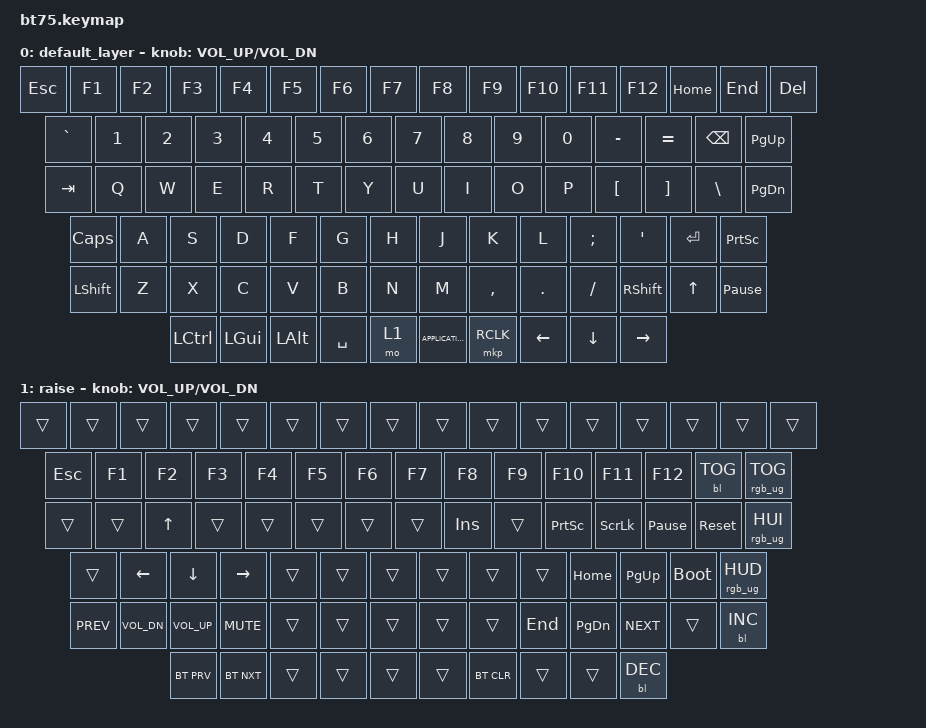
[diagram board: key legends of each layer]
#include <behaviors.dtsi>
#include <dt-bindings/zmk/keys.h>
#include <dt-bindings/zmk/bt.h>
#include <dt-bindings/zmk/rgb.h>
#include <dt-bindings/zmk/backlight.h>
#include <dt-bindings/zmk/ext_power.h>
#include <dt-bindings/zmk/mouse.h>

/ {
	keymap {
		compatible = "zmk,keymap";
		default_layer {
			bindings = <
				&kp ESC &kp F1 &kp F2 &kp F3 &kp F4 &kp F5 &kp F6 &kp F7 &kp F8 &kp F9 &kp F10 &kp F11 &kp F12 &kp HOME &kp END &kp DEL
				&kp GRAVE &kp N1 &kp N2 &kp N3 &kp N4 &kp N5 &kp N6 &kp N7 &kp N8 &kp N9 &kp N0 &kp MINUS &kp EQUAL &kp BSPC &kp PG_UP
				&kp TAB &kp Q &kp W &kp E &kp R &kp T &kp Y &kp U &kp I &kp O &kp P &kp LBKT &kp RBKT &kp BSLH &kp PG_DN
				&kp CLCK &kp A &kp S &kp D &kp F &kp G &kp H &kp J &kp K &kp L &kp SEMI &kp SQT &kp RET &kp PRINTSCREEN
				&kp LSHFT &kp Z &kp X &kp C &kp V &kp B &kp N &kp M &kp COMMA &kp DOT &kp FSLH &kp RSHFT &kp UP &kp PAUSE_BREAK
				&kp LCTRL &kp LGUI &kp LALT &kp SPACE &mo 1 &kp K_APPLICATION &mkp RCLK &kp LEFT &kp DOWN &kp RIGHT
			>;
			sensor-bindings = <&inc_dec_kp C_VOL_UP C_VOL_DN>;
		};
		raise {
			bindings = <
				&trans &trans &trans &trans &trans &trans &trans &trans &trans &trans &trans &trans &trans &trans &trans &trans
				&kp ESC &kp F1 &kp F2 &kp F3 &kp F4 &kp F5 &kp F6 &kp F7 &kp  F8   &kp  F9   &kp F10  &kp F11 &kp F12 &bl BL_TOG &rgb_ug RGB_TOG
				&trans &trans &kp UP &trans &trans &trans &trans &trans &kp INS &trans &kp PSCRN &kp SLCK &kp PAUSE_BREAK &sys_reset &rgb_ug RGB_HUI
				&trans    &kp LEFT &kp DOWN &kp RIGHT &trans &trans &trans &trans &trans &trans &kp HOME  &kp PG_UP   &bootloader &rgb_ug RGB_HUD
				&kp C_PREV &kp C_VOL_DN &kp C_VOL_UP &kp C_MUTE &trans &trans &trans &trans &trans &kp END &kp PG_DN  &kp C_NEXT &trans &bl BL_INC
				&bt BT_PRV &bt BT_NXT  &trans              &trans                            &trans   &trans  &bt BT_CLR &trans &trans &bl BL_DEC
			>;
			sensor-bindings = <&inc_dec_kp C_VOL_UP C_VOL_DN>;
		};
	};
};
